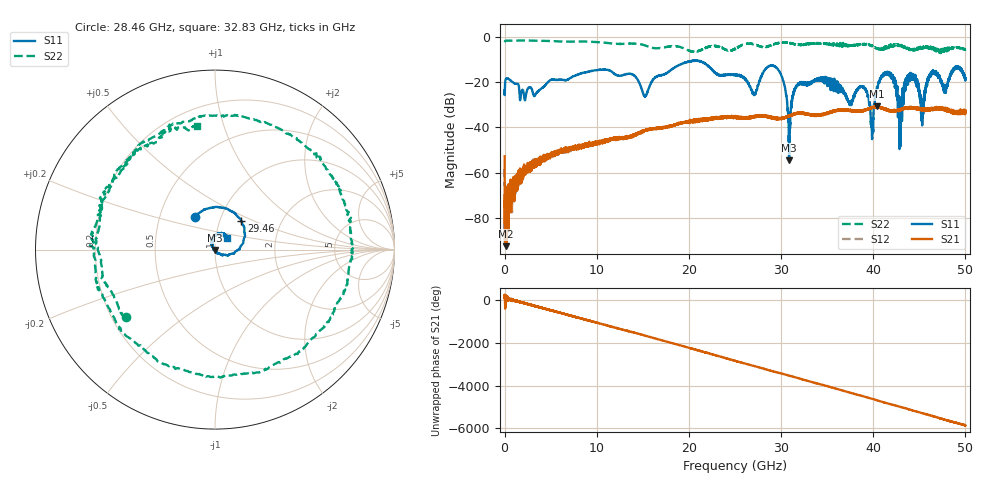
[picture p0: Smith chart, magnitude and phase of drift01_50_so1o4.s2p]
!Created with skrf (http://scikit-rf.org).
# Hz S RI R 50.0
!freq ReS11 ImS11 ReS21 ImS21 ReS12 ImS12 ReS22 ImS22
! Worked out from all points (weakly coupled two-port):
!   10001 points, 300 kHz to 50 GHz, reference 50 ohm
!   highest |S21| = -30.65 dB at 40.44 GHz (marker M1); lowest = -92.7 dB at 100.3 MHz (marker M2)
!   lowest |S11| = -54.5 dB at 30.87 GHz (marker M3), VSWR 1.00, Z = 50 - j0.186 ohm
!   |S11| at or under -10 dB: start of sweep to end of sweep
!   |S22| runs from -7.1 to -1.4 dB; largest |S21 - S12| = 0.0038
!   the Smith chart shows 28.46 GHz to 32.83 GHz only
!   S11 on the Smith chart (normalised r, x): 28.46 GHz: 0.75, +0.29; 29.46 GHz: 1.27, +0.42; 32.83 GHz: 1.13, +0.15
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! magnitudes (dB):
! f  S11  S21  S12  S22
! 300 kHz  -23.4  -52.8  -58.3  -2.1
! 100.3 MHz  -18.8  -92.7  -78.7  -1.5
! 8.335 GHz  -15.9  -48.3  -48.5  -1.8
! 15.24 GHz  -26.1  -41.4  -41.5  -3.6
! 16.67 GHz  -17.0  -40.4  -40.6  -4.9
! 25 GHz  -16.7  -35.6  -35.3  -5.2
! 27.11 GHz  -25.2  -35.3  -35.3  -3.2
! 28.46 GHz  -13.4  -35.3  -35.1  -4.1
! 29.46 GHz  -13.3  -35.8  -35.9  -2.7
! 30.87 GHz  -54.5  -35.0  -34.6  -2.4
! 31.61 GHz  -22.1  -34.1  -33.8  -3.2
! 32.83 GHz  -20.8  -34.1  -34.1  -3.1
! 33.34 GHz  -19.9  -34.4  -34.5  -2.7
! 38.92 GHz  -22.2  -32.5  -32.5  -2.9
! 39.9 GHz  -41.5  -31.2  -31.2  -3.8
! 40.44 GHz  -21.9  -30.6  -30.8  -4.8
! 41.67 GHz  -16.5  -32.3  -32.6  -4.5
! 42.92 GHz  -35.0  -32.3  -32.2  -3.6
! 44.07 GHz  -17.5  -31.2  -31.2  -5.2
! 45.31 GHz  -39.1  -31.8  -32.1  -4.5
! 46.42 GHz  -15.6  -31.9  -31.7  -4.6
! 50 GHz  -18.3  -32.4  -32.4  -5.5
